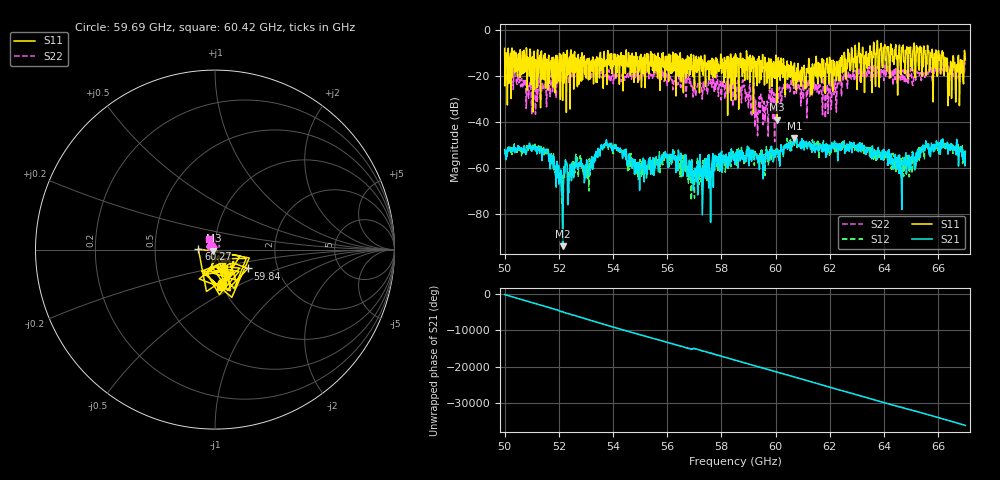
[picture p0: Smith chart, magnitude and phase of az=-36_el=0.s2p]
!Created with skrf (http://scikit-rf.org).
# GHz S RI R 50.0
!freq ReS11 ImS11 ReS21 ImS21 ReS12 ImS12 ReS22 ImS22
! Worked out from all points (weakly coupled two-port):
!   1001 points, 50 GHz to 67 GHz, reference 50 ohm
!   highest |S21| = -47.28 dB at 60.69 GHz (marker M1); lowest = -94.2 dB at 52.14 GHz (marker M2)
!   lowest |S11| = -39.1 dB at 60.05 GHz (marker M3), VSWR 1.02, Z = 49.1 - j0.662 ohm
!   |S11| at or under -10 dB: 51.36 GHz to 52.17 GHz (810.9 MHz wide, 1.57 % of centre); 56.48 GHz to 58.92 GHz (2.446 GHz wide, 4.24 % of centre); 58.93 GHz to 62.53 GHz (3.599 GHz wide, 5.93 % of centre) (the widest 3 of 66)
!   |S22| runs from -48.7 to -13.2 dB; largest |S21 - S12| = 0.0024
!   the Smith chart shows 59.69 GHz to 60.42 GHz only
!   S11 on the Smith chart (normalised r, x): 59.69 GHz: 1.01, -0.39; 59.84 GHz: 1.41, -0.31; 60.27 GHz: 0.83, +0.01; 60.42 GHz: 0.96, -0.42
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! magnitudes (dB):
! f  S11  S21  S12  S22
! 50 GHz  -8.0  -52.1  -53.8  -24.0
! 51.53 GHz  -12.7  -52.6  -52.1  -26.4
! 52.14 GHz  -30.7  -94.2  -63.5  -20.0
! 52.84 GHz  -11.1  -58.1  -56.6  -20.3
! 53.77 GHz  -23.7  -49.6  -50.0  -18.7
! 54.91 GHz  -22.9  -57.7  -58.3  -20.2
! 55.68 GHz  -13.7  -61.8  -60.1  -21.2
! 56.32 GHz  -28.7  -62.2  -55.8  -21.0
! 56.97 GHz  -10.9  -69.9  -62.2  -24.6
! 58.5 GHz  -30.5  -58.6  -56.7  -23.5
! 59.69 GHz  -14.3  -54.9  -57.2  -31.0
! 59.84 GHz  -13.5  -50.7  -50.2  -26.6
! 60.05 GHz  -39.1  -53.2  -53.8  -29.2
! 60.27 GHz  -20.6  -53.1  -54.2  -25.0
! 60.42 GHz  -13.5  -49.6  -47.2  -23.5
! 60.69 GHz  -14.4  -47.3  -50.2  -22.8
! 61.34 GHz  -27.9  -53.3  -48.9  -27.3
! 64.18 GHz  -12.0  -52.1  -53.1  -17.3
! 64.6 GHz  -16.7  -56.9  -62.7  -21.8
! 66.1 GHz  -15.1  -48.0  -50.3  -18.0
! 66.44 GHz  -19.1  -50.1  -51.8  -16.1
! 67 GHz  -13.1  -52.9  -56.0  -14.0
